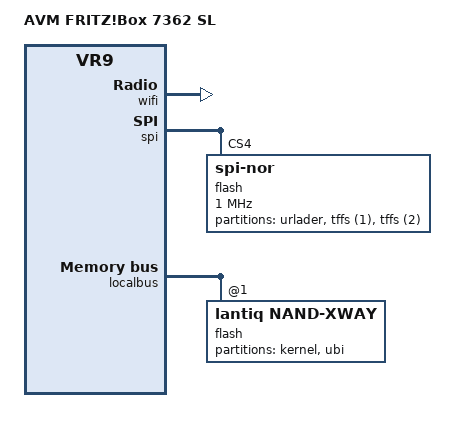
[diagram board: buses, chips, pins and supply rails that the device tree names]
// SPDX-License-Identifier: GPL-2.0-or-later OR MIT
/dts-v1/;

#include "vr9_avm_fritz736x.dtsi"

#include <dt-bindings/input/input.h>
#include <dt-bindings/mips/lantiq_rcu_gphy.h>

/ {
	compatible = "avm,fritz7362sl", "avm,fritz736x", "lantiq,xway", "lantiq,vr9";
	model = "AVM FRITZ!Box 7362 SL";
};

&power_green {
	label = "fritz7362sl:green:power";
};

&power_red {
	label = "fritz7362sl:red:power";
};

&info_green {
	label = "fritz7362sl:green:info";
};

&wifi {
	label = "fritz7362sl:green:wlan";
};

&info_red {
	label = "fritz7362sl:red:info";
};

&dect {
	label = "fritz7362sl:green:dect";
};

&state_default {
	pcie-rst {
		lantiq,pins = "io21";
		lantiq,open-drain = <1>;
		lantiq,output = <1>;
	};
};

&spi {
	status = "okay";

	flash@4 {
		#address-cells = <1>;
		#size-cells = <1>;
		compatible = "jedec,spi-nor";
		reg = <4 0>;
		spi-max-frequency = <1000000>;

		urlader: partition@0 {
			reg = <0x0 0x40000>;
			label = "urlader";
			read-only;
		};

		partition@40000 {
			reg = <0x40000 0x60000>;
			label = "tffs (1)";
			read-only;
		};

		partition@A0000 {
			reg = <0xA0000 0x60000>;
			label = "tffs (2)";
			read-only;
		};
	};
};

&localbus {
	flash@1 {
		compatible = "lantiq,nand-xway";
		lantiq,cs1 = <1>;
		bank-width = <1>;
		reg = <1 0x0 0x2000000>;

		pinctrl-0 = <&nand_pins>, <&nand_cs1_pins>;
		pinctrl-names = "default";

		nand-ecc-mode = "on-die";

		partitions {
			compatible = "fixed-partitions";
			#address-cells = <1>;
			#size-cells = <1>;

			partition@0 {
				label = "kernel";
				reg = <0x0 0x400000>;
			};

			partition@400000 {
				label = "ubi";
				reg = <0x400000 0x7c00000>;
			};
		};
	};
};

&pcie0 {
	gpio-reset = <&gpio 21 GPIO_ACTIVE_LOW>;

	pcie@0 {
		#size-cells = <1>;
		#address-cells = <2>;
	};
};
